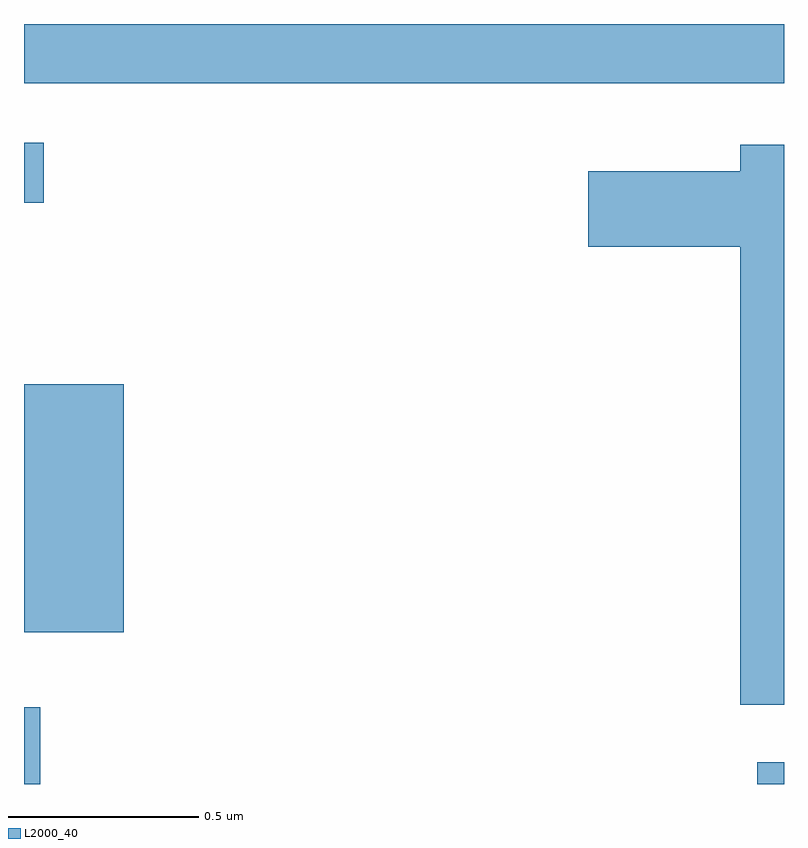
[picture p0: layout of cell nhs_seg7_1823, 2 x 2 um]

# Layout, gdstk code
import gdstk
lib = gdstk.Library(unit=1e-6, precision=1e-09)
def R(c, l, rs):  # rectangles x0, y0, x1, y1
    for r in rs: c.add(gdstk.rectangle(r[:2], r[2:], *l))
def P(c, l, *ps):  # polygons
    for p in ps: c.add(gdstk.Polygon(p, *l))
L2000_40 = (2000, 40)

nhs_seg7_1823 = lib.new_cell('nhs_seg7_1823')
R(nhs_seg7_1823, L2000_40, [(198.611,1710.252,198.654,1710.454), (200.541,1710.252,200.611,1710.309), (198.611,1710.651,198.874,1711.304), (198.611,1711.781,198.663,1711.939), (198.611,1712.096,200.611,1712.252)])
P(nhs_seg7_1823, L2000_40, [(200.611,1711.934),(200.496,1711.934),(200.496,1711.864),(200.096,1711.864),(200.096,1711.666),(200.496,1711.666),(200.496,1710.461),(200.611,1710.461)])

lib.write_gds('nhs_seg7_1823.gds')
